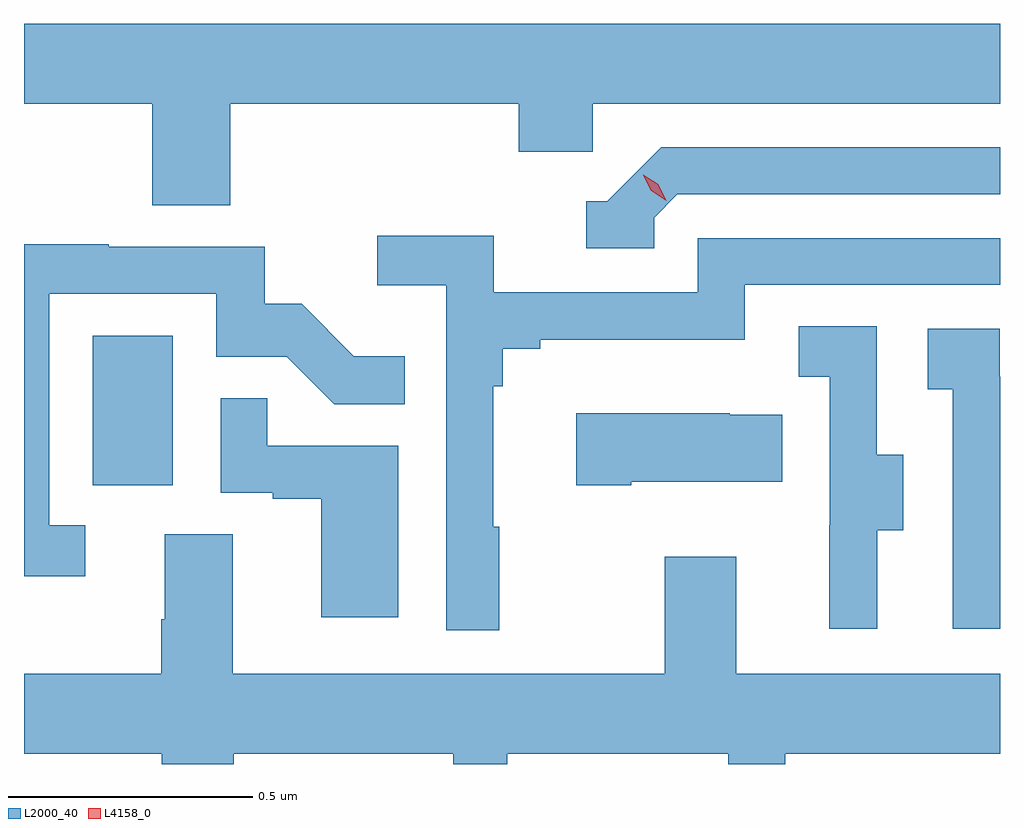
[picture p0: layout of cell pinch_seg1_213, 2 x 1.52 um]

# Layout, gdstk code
import gdstk
lib = gdstk.Library(unit=1e-6, precision=1e-09)
def R(c, l, rs):  # rectangles x0, y0, x1, y1
    for r in rs: c.add(gdstk.rectangle(r[:2], r[2:], *l))
def P(c, l, *ps):  # polygons
    for p in ps: c.add(gdstk.Polygon(p, *l))
L2000_40 = (2000, 40)
L4158_0 = (4158, 0)

pinch_seg1_213 = lib.new_cell('pinch_seg1_213')
R(pinch_seg1_213, L2000_40, [(986.276,577.59,986.44,577.897)])
P(pinch_seg1_213, L2000_40, [(986.558,578.372),(987.149,578.372),(987.149,578.274),(987.3,578.274),(987.3,578.372),(988.135,578.372),(988.135,578.536),(986.135,578.536),(986.135,578.372),(986.398,578.372),(986.398,578.164),(986.558,578.164)],
  [(987.426,578.139),(987.474,578.187),(988.135,578.187),(988.135,578.283),(987.441,578.283),(987.33,578.172),(987.287,578.172),(987.287,578.076),(987.426,578.076)],
  [(987.109,577.505),(987.097,577.505),(987.097,577.793),(987.116,577.793),(987.116,577.87),(987.193,577.87),(987.193,577.889),(987.612,577.889),(987.612,578.001),(988.135,578.001),(988.135,578.097),(987.516,578.097),(987.516,577.986),(987.098,577.986),(987.098,578.102),(986.859,578.102),(986.859,578),(987,578),(987,577.293),(987.109,577.293)],
  [(986.26,577.509),(986.187,577.509),(986.187,577.983),(986.529,577.983),(986.529,577.854),(986.673,577.854),(986.771,577.756),(986.915,577.756),(986.915,577.855),(986.811,577.855),(986.704,577.962),(986.628,577.962),(986.628,578.079),(986.309,578.079),(986.309,578.084),(986.135,578.084),(986.135,577.404),(986.26,577.404)],
  [(987.883,577.498),(987.937,577.498),(987.937,577.653),(987.882,577.653),(987.882,577.916),(987.723,577.916),(987.723,577.813),(987.786,577.813),(987.786,577.509),(987.785,577.509),(987.785,577.296),(987.883,577.296)],
  [(988.135,577.813),(988.134,577.813),(988.134,577.911),(987.987,577.911),(987.987,577.787),(988.038,577.787),(988.038,577.296),(988.135,577.296)],
  [(986.902,577.671),(986.633,577.671),(986.633,577.769),(986.538,577.769),(986.538,577.575),(986.645,577.575),(986.645,577.563),(986.744,577.563),(986.744,577.32),(986.902,577.32)],
  [(987.379,577.598),(987.689,577.598),(987.689,577.735),(987.581,577.735),(987.581,577.738),(987.267,577.738),(987.267,577.591),(987.379,577.591)],
  [(986.565,577.04),(987.015,577.04),(987.015,577.019),(987.125,577.019),(987.125,577.04),(987.578,577.04),(987.578,577.019),(987.695,577.019),(987.695,577.04),(988.135,577.04),(988.135,577.204),(987.595,577.204),(987.595,577.444),(987.448,577.444),(987.448,577.204),(986.563,577.204),(986.563,577.49),(986.423,577.49),(986.423,577.316),(986.416,577.316),(986.416,577.204),(986.135,577.204),(986.135,577.04),(986.417,577.04),(986.417,577.019),(986.565,577.019)])
P(pinch_seg1_213, L4158_0, [(987.451,578.173),(987.42,578.194),(987.404,578.226),(987.404,578.227),(987.404,578.227),(987.435,578.207),(987.451,578.174),(987.451,578.173)])

lib.write_gds('pinch_seg1_213.gds')
